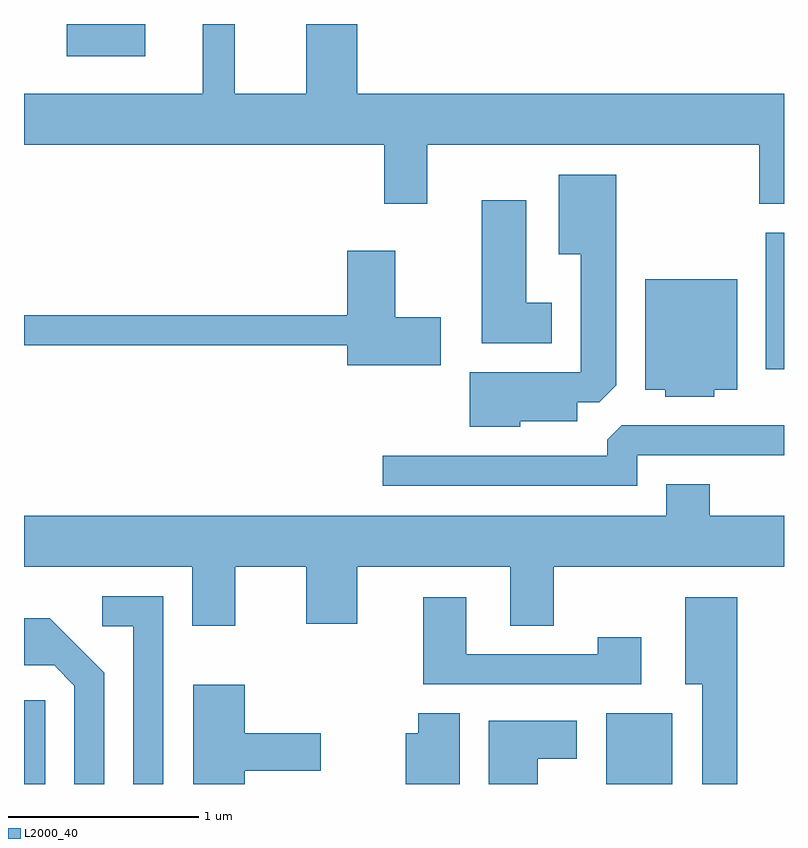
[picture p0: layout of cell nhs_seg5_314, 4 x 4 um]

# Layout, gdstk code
import gdstk
lib = gdstk.Library(unit=1e-6, precision=1e-09)
def R(c, l, rs):  # rectangles x0, y0, x1, y1
    for r in rs: c.add(gdstk.rectangle(r[:2], r[2:], *l))
def P(c, l, *ps):  # polygons
    for p in ps: c.add(gdstk.Polygon(p, *l))
L2000_40 = (2000, 40)

nhs_seg5_314 = lib.new_cell('nhs_seg5_314')
R(nhs_seg5_314, L2000_40, [(193.611,1480.072,193.724,1480.513), (196.676,1480.072,197.024,1480.444), (197.516,1482.256,197.611,1482.974), (193.836,1483.901,194.249,1484.072)])
P(nhs_seg5_314, L2000_40, [(195.734,1483.436),(197.481,1483.436),(197.481,1483.126),(197.611,1483.126),(197.611,1483.704),(195.364,1483.704),(195.364,1484.072),(195.096,1484.072),(195.096,1483.704),(194.719,1483.704),(194.719,1484.072),(194.551,1484.072),(194.551,1483.704),(193.611,1483.704),(193.611,1483.436),(195.506,1483.436),(195.506,1483.126),(195.734,1483.126)],
  [(196.224,1481.981),(196.524,1481.981),(196.524,1482.081),(196.639,1482.081),(196.729,1482.172),(196.729,1483.279),(196.426,1483.279),(196.426,1482.861),(196.541,1482.861),(196.541,1482.239),(195.956,1482.239),(195.956,1481.951),(196.224,1481.951)],
  [(196.389,1482.604),(196.254,1482.604),(196.254,1483.144),(196.021,1483.144),(196.021,1482.391),(196.389,1482.391)],
  [(195.804,1482.529),(195.564,1482.529),(195.564,1482.879),(195.311,1482.879),(195.311,1482.539),(193.611,1482.539),(193.611,1482.381),(195.311,1482.381),(195.311,1482.276),(195.804,1482.276)],
  [(197.244,1482.146),(197.364,1482.146),(197.364,1482.729),(196.881,1482.729),(196.881,1482.146),(196.986,1482.146),(196.986,1482.111),(197.244,1482.111)],
  [(196.839,1481.801),(197.611,1481.801),(197.611,1481.959),(196.757,1481.959),(196.681,1481.884),(196.681,1481.799),(195.498,1481.799),(195.498,1481.641),(196.839,1481.641)],
  [(194.724,1481.216),(195.096,1481.216),(195.096,1480.916),(195.364,1480.916),(195.364,1481.216),(196.171,1481.216),(196.171,1480.906),(196.399,1480.906),(196.399,1481.216),(197.611,1481.216),(197.611,1481.484),(197.219,1481.484),(197.219,1481.649),(196.991,1481.649),(196.991,1481.484),(193.611,1481.484),(193.611,1481.216),(194.496,1481.216),(194.496,1480.906),(194.724,1480.906)],
  [(194.344,1481.059),(194.023,1481.059),(194.023,1480.901),(194.186,1480.901),(194.186,1480.072),(194.344,1480.072)],
  [(197.364,1481.054),(197.091,1481.054),(197.091,1480.596),(197.181,1480.596),(197.181,1480.072),(197.364,1480.072)],
  [(196.859,1480.844),(196.631,1480.844),(196.631,1480.754),(195.939,1480.754),(195.939,1481.054),(195.711,1481.054),(195.711,1480.596),(196.859,1480.596)],
  [(194.034,1480.657),(193.747,1480.944),(193.611,1480.944),(193.611,1480.696),(193.769,1480.696),(193.876,1480.589),(193.876,1480.072),(194.034,1480.072)],
  [(194.774,1480.141),(195.174,1480.141),(195.174,1480.339),(194.774,1480.339),(194.774,1480.594),(194.501,1480.594),(194.501,1480.072),(194.774,1480.072)],
  [(195.904,1480.444),(195.686,1480.444),(195.686,1480.339),(195.621,1480.339),(195.621,1480.072),(195.904,1480.072)],
  [(196.314,1480.206),(196.519,1480.206),(196.519,1480.404),(196.056,1480.404),(196.056,1480.072),(196.314,1480.072)])

lib.write_gds('nhs_seg5_314.gds')
